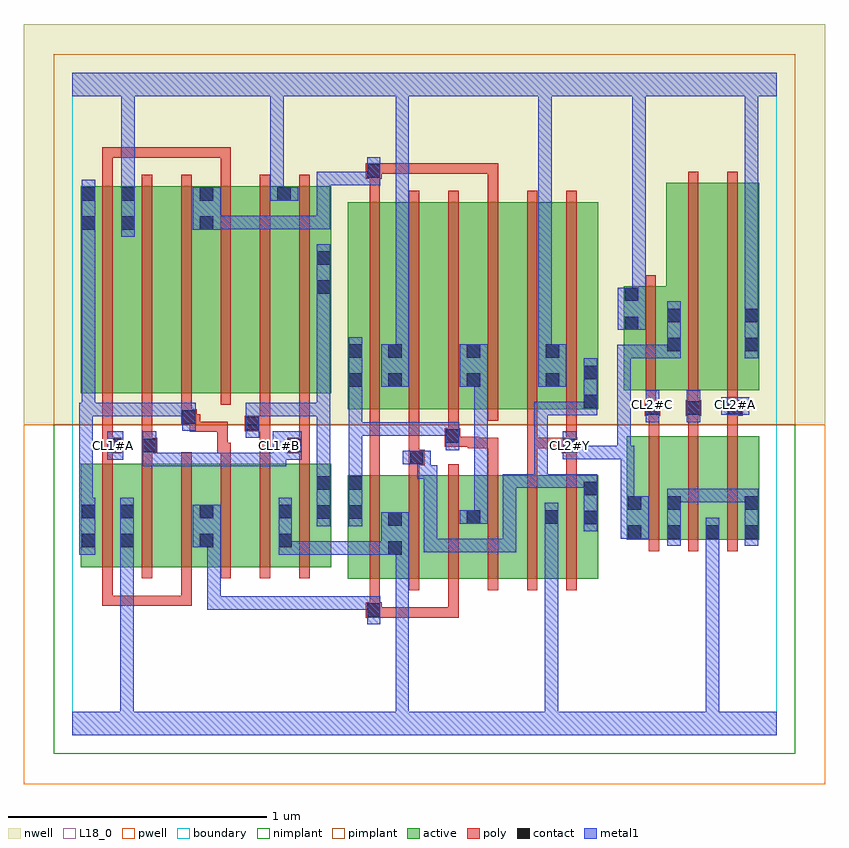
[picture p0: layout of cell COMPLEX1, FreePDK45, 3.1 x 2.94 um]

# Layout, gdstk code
import gdstk
lib = gdstk.Library(unit=1e-6, precision=1e-09)
def R(c, l, rs):  # rectangles x0, y0, x1, y1
    for r in rs: c.add(gdstk.rectangle(r[:2], r[2:], *l))
def A(c, l, x, y, w, h, nx, ny, dx, dy):  # array of equal rectangles
    R(c, l, [(x+i*dx, y+j*dy, x+i*dx+w, y+j*dy+h) for i in range(nx) for j in range(ny)])
active = (1, 0)
pwell = (2, 0)
nwell = (3, 0)
nimplant = (4, 0)
pimplant = (5, 0)
poly = (9, 0)
contact = (10, 0)
metal1 = (11, 0)
L18_0 = (18, 0)
boundary = (235, 0)

complex1 = lib.new_cell('COMPLEX1')
A(complex1, active, 1.216, 1.26, 0.06, 0.784, 3, 1, 0.304, 0)
R(complex1, active, [(1.064,0.604,1.276,1.004), (1.216,0.604,1.396,1.004), (1.396,0.604,1.58,1.004), (1.52,0.604,1.7,1.004), (1.7,0.604,1.88,1.004), (1.82,0.604,2.032,1.004), (0.032,0.65,0.24,1.05), (0.18,0.65,0.364,1.05), (0.364,0.65,0.548,1.05), (0.488,0.65,0.668,1.05), (0.488,0.65,0.548,0.894), (0.668,0.65,0.852,1.05), (0.792,0.65,1,1.05), (1.216,0.694,1.276,0.866), (0.032,0.722,0.092,1.05), (0.18,0.722,0.24,0.894), (0.792,0.722,0.852,0.894), (0.94,0.756,1,1.05), (1.064,0.756,1.124,1.004), (1.52,0.756,1.58,0.874), (1.82,0.756,1.88,0.874), (1.972,0.756,2.032,1.004), (2.142,0.756,2.202,1.156), (2.142,0.756,2.354,1.156), (2.294,0.756,2.354,1.156), (2.294,0.756,2.502,1.156), (2.442,0.756,2.502,1.156), (2.442,0.756,2.654,1.156), (2.594,0.756,2.654,1.156), (1.064,1.26,1.124,2.044), (1.064,1.26,1.276,2.06), (1.216,1.26,1.396,2.06), (1.396,1.26,1.58,2.06), (1.52,1.26,1.7,2.06), (1.7,1.26,1.884,2.06), (1.824,1.26,2.032,2.06), (1.972,1.26,2.032,2.044), (0.032,1.322,0.244,2.122), (0.032,1.322,0.092,2.122), (0.184,1.322,0.364,2.122), (0.364,1.322,0.548,2.122), (0.488,1.322,0.668,2.122), (0.668,1.322,0.848,2.122), (0.788,1.322,1,2.122), (0.94,1.322,1,2.044), (2.13,1.334,2.19,1.734), (2.13,1.334,2.354,1.734), (2.294,1.334,2.474,2.134), (2.474,1.334,2.654,2.134), (2.594,1.334,2.654,2.044), (2.294,1.48,2.354,2.134), (0.184,1.65,0.244,2.122), (0.488,1.65,0.548,2.122), (0.788,1.686,0.848,2.122)])
R(complex1, pwell, [(-0.188,-0.188,2.908,1.2)])
R(complex1, nwell, [(-0.188,1.2,2.908,2.748)])
R(complex1, nimplant, [(-0.072,-0.072,2.792,1.2)])
R(complex1, pimplant, [(-0.072,1.2,2.792,2.632)])
A(complex1, poly, 1.148, 0.56, 0.04, 0.488, 6, 1, 0.152, 0)
A(complex1, poly, 0.116, 0.606, 0.04, 0.488, 6, 1, 0.152, 0)
A(complex1, poly, 2.226, 0.712, 0.04, 0.488, 3, 1, 0.152, 0)
A(complex1, poly, 0.268, 1.054, 0.04, 0.076, 3, 1, 0.304, 0)
A(complex1, poly, 2.226, 1.16, 0.04, 0.114, 3, 1, 0.152, 0)
A(complex1, poly, 1.148, 1.216, 0.04, 0.888, 6, 1, 0.152, 0)
A(complex1, poly, 2.21, 1.234, 0.06, 0.06, 3, 1, 0.16, 0)
A(complex1, poly, 0.116, 1.278, 0.04, 0.888, 6, 1, 0.152, 0)
R(complex1, poly, [(1.134,0.454,1.194,0.514), (1.154,0.454,1.194,0.494), (1.154,0.454,1.194,0.494), (1.154,0.454,1.3,0.494), (1.26,0.454,1.3,0.494), (1.26,0.454,1.3,0.494), (1.26,0.454,1.3,0.494), (1.26,0.454,1.492,0.494), (1.452,0.454,1.492,0.494), (1.452,0.454,1.492,0.6), (1.148,0.474,1.188,0.6), (0.116,0.5,0.156,0.54), (0.116,0.5,0.156,0.54), (0.116,0.5,0.156,0.54), (0.116,0.5,0.156,0.646), (0.116,0.5,0.354,0.54), (0.314,0.5,0.354,0.54), (0.314,0.5,0.388,0.54), (0.348,0.5,0.388,0.54), (0.348,0.5,0.46,0.54), (0.42,0.5,0.46,0.54), (0.42,0.5,0.46,0.646), (1.148,1.008,1.188,1.084), (1.3,1.008,1.34,1.084), (1.604,1.008,1.644,1.15), (1.756,1.008,1.796,1.15), (1.908,1.008,1.948,1.13), (1.148,1.044,1.188,1.084), (1.148,1.044,1.188,1.084), (1.148,1.044,1.188,1.084), (1.148,1.044,1.188,1.256), (1.3,1.044,1.36,1.104), (0.116,1.054,0.156,1.13), (0.724,1.054,0.764,1.214), (1.3,1.064,1.34,1.104), (1.3,1.064,1.34,1.104), (1.3,1.064,1.34,1.256), (0.116,1.09,0.19,1.15), (0.268,1.09,0.328,1.15), (0.56,1.09,0.6,1.212), (0.56,1.09,0.612,1.13), (0.83,1.09,0.916,1.15), (1.89,1.09,1.95,1.15), (0.116,1.11,0.156,1.15), (0.116,1.11,0.156,1.15), (0.116,1.11,0.156,1.318), (0.268,1.11,0.308,1.15), (0.268,1.11,0.308,1.15), (0.268,1.11,0.308,1.318), (0.876,1.11,0.916,1.15), (0.876,1.11,0.916,1.15), (0.876,1.11,0.916,1.318), (1.528,1.11,1.644,1.15), (1.528,1.11,1.568,1.154), (1.604,1.11,1.644,1.15), (1.604,1.11,1.644,1.15), (1.604,1.11,1.644,1.15), (1.756,1.11,1.796,1.15), (1.756,1.11,1.796,1.15), (1.756,1.11,1.796,1.15), (1.756,1.11,1.796,1.256), (1.756,1.11,1.948,1.15), (1.908,1.11,1.948,1.15), (1.908,1.11,1.948,1.15), (1.908,1.11,1.948,1.15), (1.908,1.11,1.948,1.15), (1.908,1.11,1.948,1.256), (1.438,1.114,1.498,1.186), (1.458,1.114,1.568,1.154), (1.452,1.146,1.492,1.256), (0.454,1.172,0.6,1.212), (0.454,1.172,0.494,1.24), (0.56,1.172,0.6,1.212), (0.666,1.174,0.764,1.234), (0.724,1.174,0.764,1.214), (0.724,1.174,0.764,1.214), (0.724,1.194,0.764,1.318), (0.42,1.2,0.48,1.26), (0.44,1.2,0.494,1.24), (0.42,1.22,0.46,1.318), (2.226,1.234,2.266,1.274), (2.226,1.234,2.266,1.274), (2.53,1.234,2.57,1.274), (2.53,1.234,2.57,1.274), (2.214,1.254,2.254,1.33), (2.378,1.254,2.418,1.33), (2.378,1.254,2.418,1.294), (2.378,1.254,2.418,1.294), (2.53,1.254,2.57,1.33), (2.214,1.29,2.254,1.778), (2.378,1.29,2.418,2.178), (2.53,1.29,2.57,2.178), (1.148,2.064,1.188,2.19), (1.604,2.064,1.644,2.21), (0.116,2.126,0.156,2.272), (0.572,2.126,0.612,2.272), (1.134,2.15,1.194,2.21), (1.154,2.17,1.194,2.21), (1.154,2.17,1.194,2.21), (1.154,2.17,1.3,2.21), (1.26,2.17,1.3,2.21), (1.26,2.17,1.3,2.21), (1.26,2.17,1.3,2.21), (1.26,2.17,1.538,2.21), (1.498,2.17,1.538,2.21), (1.498,2.17,1.538,2.21), (1.498,2.17,1.538,2.21), (1.498,2.17,1.644,2.21), (1.604,2.17,1.644,2.21), (0.116,2.232,0.156,2.272), (0.116,2.232,0.156,2.272), (0.116,2.232,0.156,2.272), (0.116,2.232,0.296,2.272), (0.256,2.232,0.296,2.272), (0.256,2.232,0.296,2.272), (0.256,2.232,0.296,2.272), (0.256,2.232,0.494,2.272), (0.454,2.232,0.494,2.272), (0.454,2.232,0.494,2.272), (0.454,2.232,0.494,2.272), (0.454,2.232,0.612,2.272), (0.572,2.232,0.612,2.272)])
A(complex1, contact, 2.214, 1.238, 0.052, 0.052, 3, 1, 0.16, 0)
A(complex1, contact, 1.22, 1.346, 0.052, 0.052, 3, 2, 0.304, 0.112)
R(complex1, contact, [(1.138,0.458,1.19,0.51), (1.22,0.698,1.272,0.75), (0.036,0.726,0.088,0.778), (0.184,0.726,0.236,0.778), (0.492,0.726,0.544,0.778), (0.796,0.726,0.848,0.778), (2.146,0.76,2.198,0.812), (2.298,0.76,2.35,0.812), (2.446,0.76,2.498,0.812), (2.598,0.76,2.65,0.812), (1.22,0.81,1.272,0.862), (1.976,0.816,2.028,0.868), (1.524,0.818,1.576,0.87), (1.824,0.818,1.876,0.87), (0.944,0.836,0.996,0.888), (1.068,0.836,1.12,0.888), (0.036,0.838,0.088,0.89), (0.184,0.838,0.236,0.89), (0.492,0.838,0.544,0.89), (0.796,0.838,0.848,0.89), (2.146,0.872,2.198,0.924), (2.298,0.872,2.35,0.924), (2.598,0.872,2.65,0.924), (1.976,0.928,2.028,0.98), (0.944,0.948,0.996,1), (1.068,0.948,1.12,1), (1.304,1.048,1.356,1.1), (0.134,1.094,0.186,1.146), (0.272,1.094,0.324,1.146), (0.834,1.094,0.886,1.146), (1.894,1.094,1.946,1.146), (1.442,1.13,1.494,1.182), (0.67,1.178,0.722,1.23), (0.424,1.204,0.476,1.256), (1.976,1.264,2.028,1.316), (1.068,1.346,1.12,1.398), (1.976,1.376,2.028,1.428), (1.068,1.458,1.12,1.51), (2.298,1.484,2.35,1.536), (2.598,1.484,2.65,1.536), (2.134,1.566,2.186,1.618), (2.298,1.596,2.35,1.648), (2.598,1.596,2.65,1.648), (2.134,1.678,2.186,1.73), (0.944,1.706,0.996,1.758), (0.944,1.818,0.996,1.87), (0.036,1.954,0.088,2.006), (0.188,1.954,0.24,2.006), (0.492,1.954,0.544,2.006), (0.036,2.066,0.088,2.118), (0.188,2.066,0.24,2.118), (0.492,2.066,0.544,2.118), (0.792,2.066,0.844,2.118), (1.138,2.154,1.19,2.206)])
A(complex1, metal1, 1.192, 1.346, 0.108, 0.164, 3, 1, 0.304, 0)
R(complex1, metal1, [(0,0,2.72,0.092), (0.184,0.04,0.236,0.092), (0.184,0.04,0.236,0.092), (0.184,0.04,0.236,0.092), (0.184,0.04,0.236,0.092), (0.184,0.04,0.236,0.092), (0.184,0.04,0.236,0.092), (0.184,0.04,0.236,0.092), (0.184,0.04,0.236,0.092), (0.184,0.04,0.236,0.75), (1.248,0.04,1.3,0.092), (1.248,0.04,1.3,0.092), (1.248,0.04,1.3,0.092), (1.248,0.04,1.3,0.092), (1.248,0.04,1.3,0.092), (1.248,0.04,1.3,0.092), (1.248,0.04,1.3,0.092), (1.248,0.04,1.3,0.092), (1.248,0.04,1.3,0.092), (1.248,0.04,1.3,0.092), (1.248,0.04,1.3,0.092), (1.248,0.04,1.3,0.092), (1.248,0.04,1.3,0.75), (1.824,0.04,1.876,0.092), (1.824,0.04,1.876,0.092), (1.824,0.04,1.876,0.092), (1.824,0.04,1.876,0.092), (1.824,0.04,1.876,0.092), (1.824,0.04,1.876,0.092), (1.824,0.04,1.876,0.092), (1.824,0.04,1.876,0.092), (1.824,0.04,1.876,0.092), (1.824,0.04,1.876,0.092), (1.824,0.04,1.876,0.092), (1.824,0.04,1.876,0.092), (1.824,0.04,1.876,0.842), (2.446,0.04,2.498,0.092), (2.446,0.04,2.498,0.092), (2.446,0.04,2.498,0.092), (2.446,0.04,2.498,0.092), (2.446,0.04,2.498,0.092), (2.446,0.04,2.498,0.092), (2.446,0.04,2.498,0.092), (2.446,0.04,2.498,0.092), (2.446,0.04,2.498,0.092), (2.446,0.04,2.498,0.092), (2.446,0.04,2.498,0.092), (2.446,0.04,2.498,0.092), (2.446,0.04,2.498,0.784), (1.138,0.43,1.19,0.538), (0.52,0.486,0.572,0.538), (0.52,0.486,0.572,0.538), (0.52,0.486,0.572,0.538), (0.52,0.486,0.706,0.538), (0.52,0.486,0.572,0.778), (0.654,0.486,0.706,0.538), (0.654,0.486,0.706,0.538), (0.654,0.486,0.706,0.538), (0.654,0.486,0.832,0.538), (0.78,0.486,0.832,0.538), (0.78,0.486,0.832,0.538), (0.78,0.486,0.832,0.538), (0.78,0.486,1.01,0.538), (0.958,0.486,1.01,0.538), (0.958,0.486,1.01,0.538), (0.958,0.486,1.01,0.538), (0.958,0.486,1.19,0.538), (0.026,0.698,0.088,0.918), (0.184,0.698,0.236,0.75), (0.184,0.698,0.236,0.75), (0.184,0.698,0.236,0.75), (0.184,0.698,0.236,0.75), (0.184,0.698,0.236,0.918), (0.796,0.698,0.848,0.75), (0.796,0.698,0.848,0.75), (0.796,0.698,0.848,0.918), (0.796,0.698,0.996,0.75), (0.944,0.698,0.996,0.75), (0.944,0.698,0.996,0.75), (0.944,0.698,0.996,0.75), (0.944,0.698,1.218,0.75), (1.166,0.698,1.218,0.75), (1.166,0.698,1.244,0.75), (1.192,0.698,1.3,0.862), (1.358,0.708,1.41,0.76), (1.358,0.708,1.604,0.76), (1.358,0.708,1.41,1.044), (1.552,0.708,1.604,0.76), (1.552,0.708,1.604,0.76), (1.552,0.708,1.604,0.76), (1.552,0.708,1.714,0.76), (1.662,0.708,1.714,0.76), (1.662,0.708,1.714,0.76), (1.662,0.708,1.714,0.76), (1.662,0.708,1.714,1.008), (0.464,0.726,0.572,0.89), (2.298,0.732,2.35,0.952), (2.446,0.732,2.498,0.84), (2.598,0.732,2.65,0.952), (2.118,0.76,2.226,0.924), (1.976,0.788,2.028,1.008), (1.824,0.79,1.876,0.898), (0.944,0.808,0.996,1.028), (1.068,0.808,1.12,1.028), (1.496,0.818,1.604,0.87), (1.552,0.818,1.604,1.398), (0.026,0.866,0.078,0.918), (0.026,0.866,0.078,0.918), (0.026,0.866,0.078,1.284), (2.118,0.872,2.17,1.118), (2.298,0.9,2.35,0.952), (2.298,0.9,2.35,0.952), (2.298,0.9,2.46,0.952), (2.408,0.9,2.46,0.952), (2.408,0.9,2.46,0.952), (2.408,0.9,2.46,0.952), (2.408,0.9,2.65,0.952), (1.662,0.956,1.714,1.008), (1.662,0.956,1.836,1.008), (1.784,0.956,1.836,1.008), (1.784,0.956,1.836,1.008), (1.784,0.956,1.836,1.008), (1.784,0.956,1.836,1.008), (1.784,0.956,1.836,1.008), (1.784,0.956,1.836,1.008), (1.784,0.956,1.836,1.008), (1.784,0.956,2.028,1.008), (1.784,0.956,1.836,1.288), (1.976,0.956,2.028,1.008), (1.976,0.956,2.028,1.008), (0.944,0.976,0.996,1.028), (0.944,0.976,0.996,1.028), (0.944,0.976,0.996,1.284), (1.068,0.976,1.12,1.21), (1.332,0.992,1.384,1.1), (1.332,0.992,1.41,1.044), (0.272,1.04,0.462,1.092), (0.272,1.04,0.324,1.118), (0.41,1.04,0.462,1.092), (0.41,1.04,0.572,1.092), (0.52,1.04,0.572,1.092), (0.52,1.04,0.572,1.092), (0.52,1.04,0.572,1.092), (0.52,1.04,0.682,1.092), (0.63,1.04,0.682,1.092), (0.63,1.04,0.682,1.092), (0.63,1.04,0.682,1.092), (0.63,1.04,0.826,1.092), (0.774,1.04,0.826,1.116), (1.276,1.048,1.384,1.1), (1.332,1.048,1.384,1.1), (1.332,1.048,1.384,1.1), (0.134,1.064,0.196,1.174), (0.774,1.064,0.826,1.116), (0.774,1.064,0.886,1.174), (0.272,1.066,0.324,1.118), (0.272,1.066,0.324,1.174), (1.894,1.066,1.946,1.118), (1.894,1.066,1.946,1.118), (1.894,1.066,1.946,1.174), (1.894,1.066,2.156,1.118), (2.104,1.066,2.156,1.118), (2.104,1.066,2.156,1.118), (2.104,1.066,2.156,1.508), (2.104,1.066,2.17,1.118), (1.442,1.102,1.494,1.21), (0.67,1.15,0.722,1.284), (1.068,1.158,1.12,1.21), (1.068,1.158,1.12,1.21), (1.068,1.158,1.12,1.21), (1.068,1.158,1.12,1.21), (1.068,1.158,1.12,1.21), (1.068,1.158,1.23,1.21), (1.068,1.158,1.12,1.37), (1.178,1.158,1.23,1.21), (1.178,1.158,1.384,1.21), (1.332,1.158,1.384,1.21), (1.332,1.158,1.384,1.21), (1.332,1.158,1.384,1.21), (1.332,1.158,1.494,1.21), (0.424,1.176,0.476,1.284), (2.214,1.21,2.266,1.334), (2.374,1.21,2.426,1.334), (0.026,1.232,0.088,1.284), (0.036,1.232,0.198,1.284), (0.036,1.232,0.088,1.978), (0.146,1.232,0.198,1.284), (0.146,1.232,0.198,1.284), (0.146,1.232,0.198,1.284), (0.146,1.232,0.352,1.284), (0.3,1.232,0.352,1.284), (0.3,1.232,0.352,1.284), (0.3,1.232,0.352,1.284), (0.3,1.232,0.476,1.284), (0.67,1.232,0.886,1.284), (0.834,1.232,0.886,1.284), (0.834,1.232,0.886,1.284), (0.834,1.232,0.886,1.284), (0.834,1.232,0.996,1.284), (0.944,1.232,0.996,1.284), (0.944,1.232,0.996,1.73), (1.784,1.236,1.836,1.288), (1.784,1.236,2.028,1.288), (1.976,1.236,2.028,1.288), (1.976,1.236,2.028,1.288), (1.976,1.236,2.028,1.456), (2.506,1.238,2.614,1.306), (1.068,1.318,1.12,1.538), (1.552,1.346,1.604,1.398), (1.552,1.346,1.604,1.398), (1.552,1.346,1.604,1.398), (1.552,1.346,1.604,1.398), (2.104,1.456,2.156,1.508), (2.104,1.456,2.156,1.508), (2.104,1.456,2.156,1.508), (2.104,1.456,2.35,1.508), (2.298,1.456,2.35,1.676), (2.598,1.456,2.65,1.676), (1.248,1.458,1.3,2.52), (1.8,1.458,1.852,2.52), (2.106,1.566,2.214,1.73), (2.598,1.624,2.65,1.676), (2.598,1.624,2.65,1.676), (2.598,1.624,2.65,1.676), (2.598,1.624,2.65,1.676), (2.598,1.624,2.65,2.52), (0.944,1.678,0.996,1.898), (2.162,1.678,2.214,1.73), (2.162,1.678,2.214,1.73), (2.162,1.678,2.214,1.73), (2.162,1.678,2.214,1.73), (2.162,1.678,2.214,1.73), (2.162,1.678,2.214,1.73), (2.162,1.678,2.214,1.73), (2.162,1.678,2.214,1.73), (2.162,1.678,2.214,1.73), (2.162,1.678,2.214,1.73), (2.162,1.678,2.214,2.52), (0.036,1.926,0.088,2.146), (0.188,1.926,0.24,2.146), (0.464,1.954,0.572,2.118), (0.52,1.956,0.572,2.008), (0.52,1.956,0.572,2.008), (0.52,1.956,0.706,2.008), (0.654,1.956,0.706,2.008), (0.654,1.956,0.706,2.008), (0.654,1.956,0.706,2.008), (0.654,1.956,0.886,2.008), (0.834,1.956,0.886,2.008), (0.834,1.956,0.886,2.008), (0.834,1.956,0.886,2.008), (0.834,1.956,0.996,2.008), (0.944,1.956,0.996,2.008), (0.944,1.956,0.996,2.178), (0.764,2.066,0.872,2.118), (0.764,2.066,0.816,2.52), (0.188,2.094,0.24,2.146), (0.188,2.094,0.24,2.146), (0.188,2.094,0.24,2.52), (0.944,2.126,0.996,2.178), (0.944,2.126,0.996,2.178), (0.944,2.126,0.996,2.178), (0.944,2.126,0.996,2.178), (0.944,2.126,0.996,2.178), (0.944,2.126,1.19,2.178), (1.138,2.126,1.19,2.234), (0,2.468,2.72,2.56), (0.188,2.468,0.24,2.52), (0.188,2.468,0.24,2.52), (0.188,2.468,0.24,2.52), (0.188,2.468,0.24,2.52), (0.188,2.468,0.24,2.52), (0.188,2.468,0.24,2.52), (0.764,2.468,0.816,2.52), (0.764,2.468,0.816,2.52), (0.764,2.468,0.816,2.52), (0.764,2.468,0.816,2.52), (0.764,2.468,0.816,2.52), (0.764,2.468,0.816,2.52), (0.764,2.468,0.816,2.52), (0.764,2.468,0.816,2.52), (1.248,2.468,1.3,2.52), (1.248,2.468,1.3,2.52), (1.248,2.468,1.3,2.52), (1.248,2.468,1.3,2.52), (1.248,2.468,1.3,2.52), (1.248,2.468,1.3,2.52), (1.248,2.468,1.3,2.52), (1.248,2.468,1.3,2.52), (1.8,2.468,1.852,2.52), (1.8,2.468,1.852,2.52), (1.8,2.468,1.852,2.52), (1.8,2.468,1.852,2.52), (1.8,2.468,1.852,2.52), (1.8,2.468,1.852,2.52), (1.8,2.468,1.852,2.52), (1.8,2.468,1.852,2.52), (2.162,2.468,2.214,2.52), (2.162,2.468,2.214,2.52), (2.162,2.468,2.214,2.52), (2.162,2.468,2.214,2.52), (2.162,2.468,2.214,2.52), (2.162,2.468,2.214,2.52), (2.598,2.468,2.65,2.52), (2.598,2.468,2.65,2.52), (2.598,2.468,2.65,2.52), (2.598,2.468,2.65,2.52)])
A(complex1, L18_0, 2.214, 1.254, 0.052, 0.052, 3, 1, 0.16, 0)
R(complex1, L18_0, [(0,0,2.72,0.092), (0.184,0.04,0.236,0.092), (0.184,0.04,0.236,0.092), (0.184,0.04,0.236,0.092), (0.184,0.04,0.236,0.092), (0.184,0.04,0.236,0.092), (0.184,0.04,0.236,0.092), (0.184,0.04,0.236,0.092), (0.184,0.04,0.236,0.092), (0.184,0.04,0.236,0.75), (1.248,0.04,1.3,0.092), (1.248,0.04,1.3,0.092), (1.248,0.04,1.3,0.092), (1.248,0.04,1.3,0.092), (1.248,0.04,1.3,0.092), (1.248,0.04,1.3,0.092), (1.248,0.04,1.3,0.092), (1.248,0.04,1.3,0.092), (1.248,0.04,1.3,0.092), (1.248,0.04,1.3,0.092), (1.248,0.04,1.3,0.092), (1.248,0.04,1.3,0.092), (1.248,0.04,1.3,0.75), (1.824,0.04,1.876,0.092), (1.824,0.04,1.876,0.092), (1.824,0.04,1.876,0.092), (1.824,0.04,1.876,0.092), (1.824,0.04,1.876,0.092), (1.824,0.04,1.876,0.092), (1.824,0.04,1.876,0.092), (1.824,0.04,1.876,0.092), (1.824,0.04,1.876,0.092), (1.824,0.04,1.876,0.092), (1.824,0.04,1.876,0.092), (1.824,0.04,1.876,0.092), (1.824,0.04,1.876,0.842), (2.446,0.04,2.498,0.092), (2.446,0.04,2.498,0.092), (2.446,0.04,2.498,0.092), (2.446,0.04,2.498,0.092), (2.446,0.04,2.498,0.092), (2.446,0.04,2.498,0.092), (2.446,0.04,2.498,0.092), (2.446,0.04,2.498,0.092), (2.446,0.04,2.498,0.092), (2.446,0.04,2.498,0.092), (2.446,0.04,2.498,0.092), (2.446,0.04,2.498,0.092), (2.446,0.04,2.498,0.784), (0.184,0.698,0.236,0.75), (0.184,0.698,0.236,0.75), (0.184,0.698,0.236,0.75), (0.184,0.698,0.236,0.75), (0.184,0.698,0.236,0.918), (0.796,0.698,0.848,0.75), (0.796,0.698,0.848,0.75), (0.796,0.698,0.848,0.918), (0.796,0.698,0.996,0.75), (0.944,0.698,0.996,0.75), (0.944,0.698,0.996,0.75), (0.944,0.698,0.996,0.75), (0.944,0.698,1.218,0.75), (1.166,0.698,1.218,0.75), (1.166,0.698,1.244,0.75), (1.192,0.698,1.3,0.862), (2.446,0.732,2.498,0.84), (2.118,0.76,2.226,0.924), (1.824,0.79,1.876,0.898), (2.118,0.872,2.17,1.118), (0.272,1.04,0.324,1.118), (0.272,1.04,0.462,1.092), (0.41,1.04,0.462,1.092), (0.41,1.04,0.572,1.092), (0.52,1.04,0.572,1.092), (0.52,1.04,0.572,1.092), (0.52,1.04,0.572,1.092), (0.52,1.04,0.682,1.092), (0.63,1.04,0.682,1.092), (0.63,1.04,0.682,1.092), (0.63,1.04,0.682,1.092), (0.63,1.04,0.826,1.092), (0.774,1.04,0.826,1.116), (0.134,1.064,0.196,1.174), (0.774,1.064,0.826,1.116), (0.774,1.064,0.886,1.174), (0.272,1.066,0.324,1.118), (0.272,1.066,0.324,1.174), (1.894,1.066,1.946,1.118), (1.894,1.066,1.946,1.118), (1.894,1.066,1.946,1.174), (1.894,1.066,2.156,1.118), (2.104,1.066,2.156,1.118), (2.104,1.066,2.156,1.118), (2.104,1.066,2.17,1.118), (2.104,1.066,2.156,1.508), (0.134,1.094,0.186,1.146), (0.774,1.094,0.826,1.146), (1.894,1.094,1.946,1.146), (2.214,1.21,2.266,1.334), (2.374,1.21,2.426,1.334), (2.506,1.238,2.614,1.306), (1.192,1.346,1.3,1.51), (1.8,1.346,1.908,1.51), (2.104,1.456,2.156,1.508), (2.104,1.456,2.156,1.508), (2.104,1.456,2.156,1.508), (2.104,1.456,2.35,1.508), (2.298,1.456,2.35,1.676), (2.598,1.456,2.65,1.676), (1.248,1.458,1.3,2.52), (1.8,1.458,1.852,2.52), (2.106,1.566,2.214,1.73), (2.598,1.624,2.65,1.676), (2.598,1.624,2.65,1.676), (2.598,1.624,2.65,1.676), (2.598,1.624,2.65,1.676), (2.598,1.624,2.65,2.52), (2.162,1.678,2.214,1.73), (2.162,1.678,2.214,1.73), (2.162,1.678,2.214,1.73), (2.162,1.678,2.214,1.73), (2.162,1.678,2.214,1.73), (2.162,1.678,2.214,1.73), (2.162,1.678,2.214,1.73), (2.162,1.678,2.214,1.73), (2.162,1.678,2.214,1.73), (2.162,1.678,2.214,1.73), (2.162,1.678,2.214,2.52), (0.188,1.926,0.24,2.146), (0.764,2.066,0.872,2.118), (0.764,2.066,0.816,2.52), (0.188,2.094,0.24,2.146), (0.188,2.094,0.24,2.146), (0.188,2.094,0.24,2.52), (0,2.468,2.72,2.56), (0.188,2.468,0.24,2.52), (0.188,2.468,0.24,2.52), (0.188,2.468,0.24,2.52), (0.188,2.468,0.24,2.52), (0.188,2.468,0.24,2.52), (0.188,2.468,0.24,2.52), (0.764,2.468,0.816,2.52), (0.764,2.468,0.816,2.52), (0.764,2.468,0.816,2.52), (0.764,2.468,0.816,2.52), (0.764,2.468,0.816,2.52), (0.764,2.468,0.816,2.52), (0.764,2.468,0.816,2.52), (0.764,2.468,0.816,2.52), (1.248,2.468,1.3,2.52), (1.248,2.468,1.3,2.52), (1.248,2.468,1.3,2.52), (1.248,2.468,1.3,2.52), (1.248,2.468,1.3,2.52), (1.248,2.468,1.3,2.52), (1.248,2.468,1.3,2.52), (1.248,2.468,1.3,2.52), (1.8,2.468,1.852,2.52), (1.8,2.468,1.852,2.52), (1.8,2.468,1.852,2.52), (1.8,2.468,1.852,2.52), (1.8,2.468,1.852,2.52), (1.8,2.468,1.852,2.52), (1.8,2.468,1.852,2.52), (1.8,2.468,1.852,2.52), (2.162,2.468,2.214,2.52), (2.162,2.468,2.214,2.52), (2.162,2.468,2.214,2.52), (2.162,2.468,2.214,2.52), (2.162,2.468,2.214,2.52), (2.162,2.468,2.214,2.52), (2.598,2.468,2.65,2.52), (2.598,2.468,2.65,2.52), (2.598,2.468,2.65,2.52), (2.598,2.468,2.65,2.52)])
R(complex1, boundary, [(0,0,2.72,2.56)])
complex1.add(gdstk.Label('CL1#A', (0.16,1.12), layer=11, texttype=0))
complex1.add(gdstk.Label('CL1#B', (0.8,1.12), layer=11, texttype=0))
complex1.add(gdstk.Label('CL2#A', (2.56,1.28), layer=11, texttype=0))
complex1.add(gdstk.Label('CL2#B', (2.4,1.28), layer=11, texttype=0))
complex1.add(gdstk.Label('CL2#C', (2.24,1.28), layer=11, texttype=0))
complex1.add(gdstk.Label('CL2#Y', (1.92,1.12), layer=11, texttype=0))

lib.write_gds('COMPLEX1.gds')
